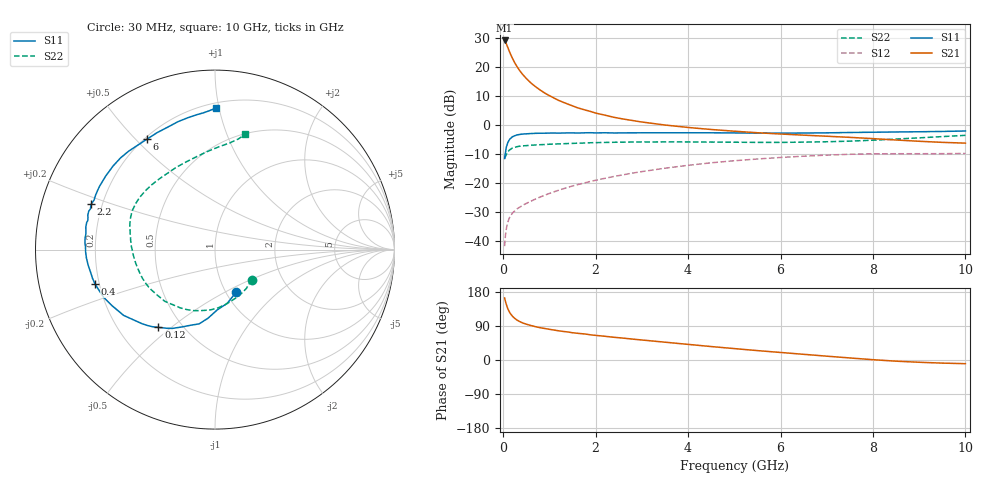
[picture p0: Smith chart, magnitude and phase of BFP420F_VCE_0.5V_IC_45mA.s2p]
! Infineon Technologies  Discrete & RF Semiconductors
! BFP420F
! VCE =  0.5 V,  IC =  45 mA
! Common Emitter S-Parameters:  Sep 2011
# GHz  S  MA  R  50
!  f  S11  S21  S12  S22
! GHz  MAG  ANG  MAG  ANG  MAG  ANG  MAG  ANG
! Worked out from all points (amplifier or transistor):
!   54 points, 30 MHz to 10 GHz, reference 50 ohm
!   highest |S21| = 29.1 dB at 30 MHz (marker M1)
!   |S21| within 3 dB of that: start of sweep to 113.8 MHz
!   unconditionally stable (mu >= 1): start of sweep to 69.43 MHz; 493.7 MHz to end of sweep
!   at 120 MHz: K = 0.81, MSG = 29.2 dB, |S12| = -32.5 dB
!   at 1.3 GHz: K = 1.31, MAG = 11.5 dB, |S12| = -21.9 dB
!   at 10 GHz: K = 1.28, MAG = -1.4 dB, |S12| = -9.8 dB
!   S11 on the Smith chart (normalised r, x): 30 MHz: 1.11, -0.57; 120 MHz: 0.37, -0.45; 400 MHz: 0.18, -0.14; 2.2 GHz: 0.16, +0.17; 6 GHz: 0.21, +0.54; 10 GHz: 0.24, +0.98
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0.03  0.2651 -63.8  28.5 163.7  0.0082 78.9  0.2641 -39.2
0.04  0.306 -76.8  27.63 158.5  0.0106 75.4  0.2784 -51.2
0.06  0.3848 -95.9  25.66 149.6  0.0149 68.3  0.2995 -71.7
0.07  0.4232 -102.1  24.7 145.5  0.0167 66.3  0.3122 -79.6
0.1  0.4991 -118.4  21.53 135.2  0.0212 60.0  0.3431 -99.4
0.12  0.5356 -126.0  19.58 129.7  0.0237 56.8  0.3603 -109.4
0.15  0.5784 -134.3  17.14 123.4  0.0266 53.4  0.3778 -120.6
0.2  0.6271 -144.2  14.03 115.4  0.0305 50.2  0.4014 -134.1
0.25  0.6527 -151.3  11.72 109.7  0.0332 48.5  0.4115 -142.9
0.3  0.6749 -156.8  10.06 105.2  0.036 47.5  0.4235 -149.6
0.4  0.695 -163.9  7.761 99.0  0.0404 47.7  0.4349 -158.7
0.6  0.7121 -173.0  5.273 91.0  0.0488 49.7  0.4477 -169.9
0.9  0.7216 178.9  3.539 83.1  0.0619 52.4  0.461 -179.8
1.2  0.7245 173.0  2.649 77.0  0.0753 53.9  0.4729 173.7
1.7  0.7297 165.9  1.88 69.4  0.0979 54.2  0.4871 165.9
2.2  0.7346 159.9  1.476 62.6  0.1207 53.1  0.5002 160.7
3.5  0.734 146.0  0.998 47.0  0.1802 45.8  0.5109 149.8
5.5  0.7236 126.4  0.735 24.8  0.2596 29.5  0.5016 128.1
6  0.7228 121.5  0.699 19.9  0.2758 25.3  0.501 121.5
7  0.732 110.7  0.64 10.1  0.3027 16.4  0.5144 108.2
8.5  0.7577 98.0  0.551 -3.1  0.3199 3.6  0.5725 88.0
10  0.788 89.7  0.487 -9.7  0.3232 -3.7  0.6626 75.5
